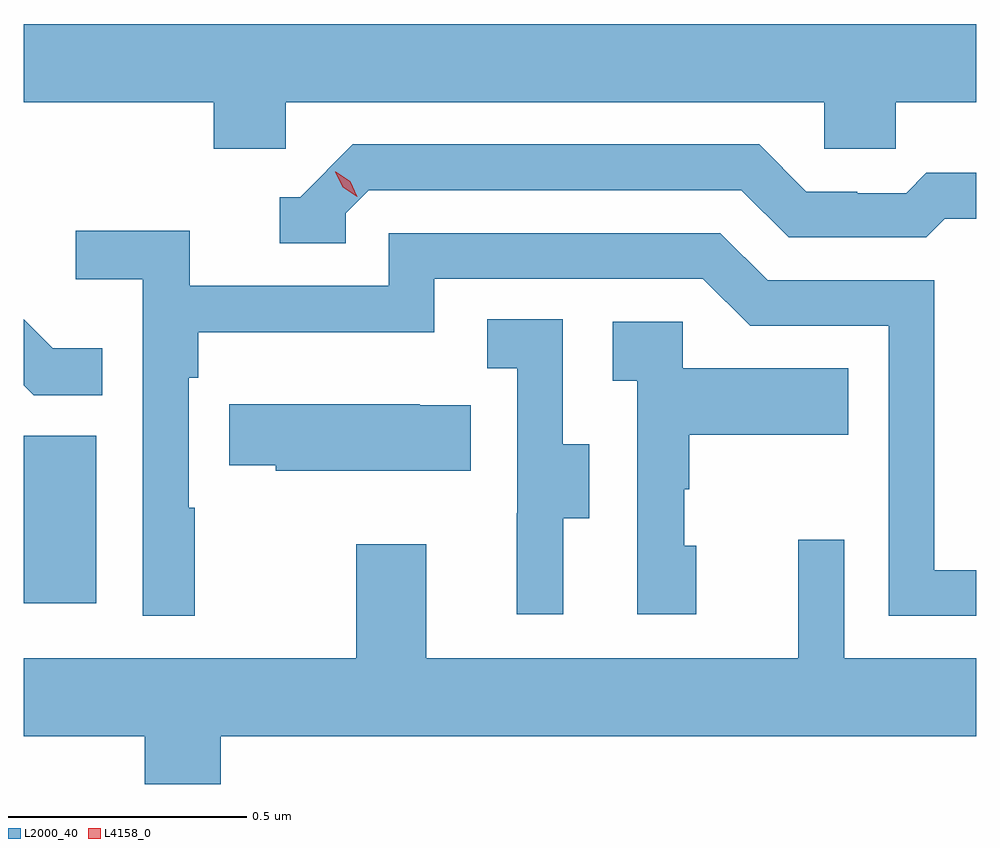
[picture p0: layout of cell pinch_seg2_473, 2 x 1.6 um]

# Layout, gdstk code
import gdstk
lib = gdstk.Library(unit=1e-6, precision=1e-09)
def R(c, l, rs):  # rectangles x0, y0, x1, y1
    for r in rs: c.add(gdstk.rectangle(r[:2], r[2:], *l))
def P(c, l, *ps):  # polygons
    for p in ps: c.add(gdstk.Polygon(p, *l))
L2000_40 = (2000, 40)
L4158_0 = (4158, 0)

pinch_seg2_473 = lib.new_cell('pinch_seg2_473')
R(pinch_seg2_473, L2000_40, [(913.268,598.632,913.42,598.983)])
P(pinch_seg2_473, L2000_40, [(913.268,599.684),(913.667,599.684),(913.667,599.586),(913.818,599.586),(913.818,599.684),(914.949,599.684),(914.949,599.586),(915.099,599.586),(915.099,599.684),(915.268,599.684),(915.268,599.848),(913.268,599.848)],
  [(913.944,599.451),(913.992,599.499),(914.775,599.499),(914.874,599.4),(915.163,599.4),(915.202,599.439),(915.268,599.439),(915.268,599.536),(915.163,599.536),(915.121,599.493),(915.018,599.493),(915.018,599.496),(914.911,599.496),(914.812,599.595),(913.959,599.595),(913.848,599.484),(913.805,599.484),(913.805,599.388),(913.944,599.388)],
  [(913.627,598.832),(913.614,598.832),(913.614,599.105),(913.634,599.105),(913.634,599.201),(914.13,599.201),(914.13,599.313),(914.694,599.313),(914.793,599.214),(915.084,599.214),(915.084,598.605),(915.268,598.605),(915.268,598.701),(915.18,598.701),(915.18,599.31),(914.83,599.31),(914.731,599.409),(914.034,599.409),(914.034,599.298),(913.616,599.298),(913.616,599.414),(913.377,599.414),(913.377,599.312),(913.518,599.312),(913.518,598.605),(913.627,598.605)],
  [(913.433,599.167),(913.329,599.167),(913.268,599.228),(913.268,599.089),(913.289,599.068),(913.433,599.068)],
  [(914.401,598.81),(914.455,598.81),(914.455,598.965),(914.4,598.965),(914.4,599.228),(914.241,599.228),(914.241,599.125),(914.304,599.125),(914.304,598.821),(914.303,598.821),(914.303,598.608),(914.401,598.608)],
  [(914.68,598.752),(914.655,598.752),(914.655,598.871),(914.665,598.871),(914.665,598.985),(914.999,598.985),(914.999,599.125),(914.652,599.125),(914.652,599.223),(914.505,599.223),(914.505,599.099),(914.556,599.099),(914.556,598.608),(914.68,598.608)],
  [(914.207,599.047),(914.099,599.047),(914.099,599.05),(913.699,599.05),(913.699,598.921),(913.797,598.921),(913.797,598.91),(914.207,598.91)],
  [(913.682,598.352),(915.268,598.352),(915.268,598.516),(914.991,598.516),(914.991,598.765),(914.894,598.765),(914.894,598.516),(914.113,598.516),(914.113,598.756),(913.966,598.756),(913.966,598.516),(913.268,598.516),(913.268,598.352),(913.522,598.352),(913.522,598.252),(913.682,598.252)])
P(pinch_seg2_473, L4158_0, [(913.968,599.485),(913.938,599.505),(913.922,599.538),(913.922,599.538),(913.923,599.538),(913.953,599.518),(913.968,599.485),(913.968,599.485)])

lib.write_gds('pinch_seg2_473.gds')
